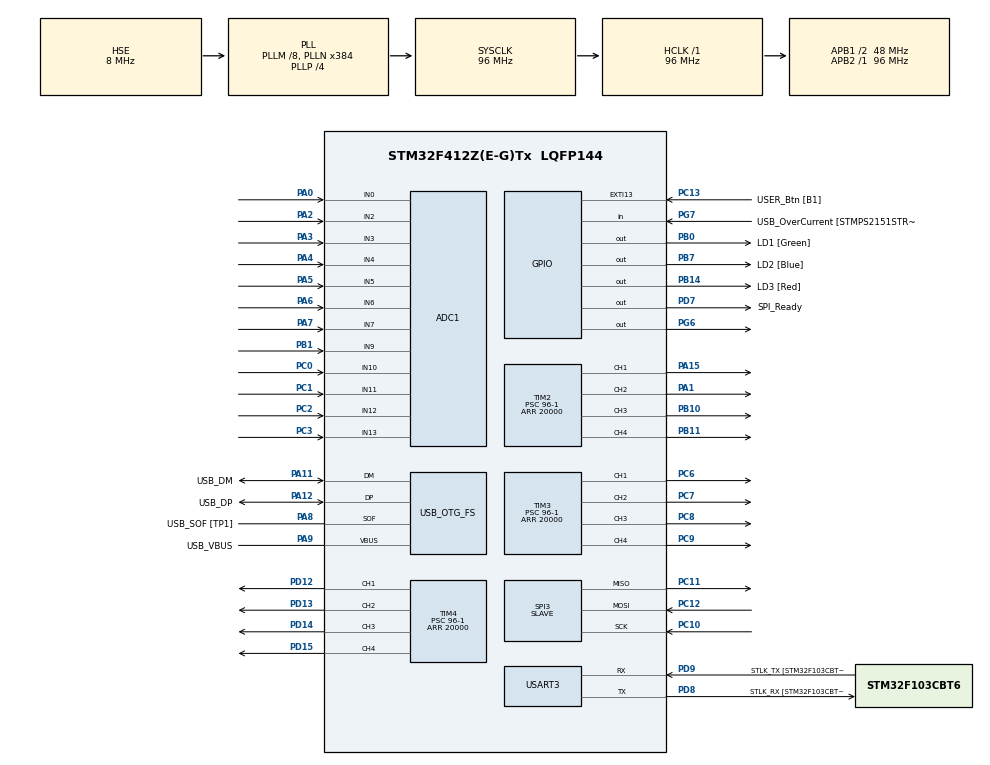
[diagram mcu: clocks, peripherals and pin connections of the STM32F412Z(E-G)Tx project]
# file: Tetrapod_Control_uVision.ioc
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ADC1.Channel-0\#ChannelRegularConversion=ADC_CHANNEL_0
ADC1.Channel-1\#ChannelRegularConversion=ADC_CHANNEL_2
ADC1.Channel-10\#ChannelRegularConversion=ADC_CHANNEL_12
ADC1.Channel-11\#ChannelRegularConversion=ADC_CHANNEL_13
ADC1.Channel-2\#ChannelRegularConversion=ADC_CHANNEL_3
ADC1.Channel-3\#ChannelRegularConversion=ADC_CHANNEL_4
ADC1.Channel-4\#ChannelRegularConversion=ADC_CHANNEL_5
ADC1.Channel-5\#ChannelRegularConversion=ADC_CHANNEL_6
ADC1.Channel-6\#ChannelRegularConversion=ADC_CHANNEL_7
ADC1.Channel-7\#ChannelRegularConversion=ADC_CHANNEL_9
ADC1.Channel-8\#ChannelRegularConversion=ADC_CHANNEL_10
ADC1.Channel-9\#ChannelRegularConversion=ADC_CHANNEL_11
ADC1.ContinuousConvMode=DISABLE
ADC1.EOCSelection=ADC_EOC_SEQ_CONV
ADC1.NbrOfConversion=12
ADC1.NbrOfConversionFlag=1
ADC1.Rank-0\#ChannelRegularConversion=1
ADC1.Rank-1\#ChannelRegularConversion=2
ADC1.Rank-10\#ChannelRegularConversion=11
ADC1.Rank-11\#ChannelRegularConversion=12
ADC1.Rank-2\#ChannelRegularConversion=3
ADC1.Rank-3\#ChannelRegularConversion=4
ADC1.Rank-4\#ChannelRegularConversion=5
ADC1.Rank-5\#ChannelRegularConversion=6
ADC1.Rank-6\#ChannelRegularConversion=7
ADC1.Rank-7\#ChannelRegularConversion=8
ADC1.Rank-8\#ChannelRegularConversion=9
ADC1.Rank-9\#ChannelRegularConversion=10
ADC1.SamplingTime-0\#ChannelRegularConversion=ADC_SAMPLETIME_3CYCLES
ADC1.SamplingTime-1\#ChannelRegularConversion=ADC_SAMPLETIME_3CYCLES
ADC1.SamplingTime-10\#ChannelRegularConversion=ADC_SAMPLETIME_3CYCLES
ADC1.SamplingTime-11\#ChannelRegularConversion=ADC_SAMPLETIME_3CYCLES
ADC1.SamplingTime-2\#ChannelRegularConversion=ADC_SAMPLETIME_3CYCLES
ADC1.SamplingTime-3\#ChannelRegularConversion=ADC_SAMPLETIME_3CYCLES
ADC1.SamplingTime-4\#ChannelRegularConversion=ADC_SAMPLETIME_3CYCLES
ADC1.SamplingTime-5\#ChannelRegularConversion=ADC_SAMPLETIME_3CYCLES
ADC1.SamplingTime-6\#ChannelRegularConversion=ADC_SAMPLETIME_3CYCLES
ADC1.SamplingTime-7\#ChannelRegularConversion=ADC_SAMPLETIME_3CYCLES
ADC1.SamplingTime-8\#ChannelRegularConversion=ADC_SAMPLETIME_3CYCLES
ADC1.SamplingTime-9\#ChannelRegularConversion=ADC_SAMPLETIME_3CYCLES
ADC1.ScanConvMode=ENABLE
ADC1.master=1
Dma.ADC1.0.Direction=DMA_PERIPH_TO_MEMORY
Dma.ADC1.0.FIFOMode=DMA_FIFOMODE_DISABLE
Dma.ADC1.0.Instance=DMA2_Stream4
Dma.ADC1.0.MemDataAlignment=DMA_MDATAALIGN_HALFWORD
Dma.ADC1.0.MemInc=DMA_MINC_ENABLE
Dma.ADC1.0.Mode=DMA_NORMAL
Dma.ADC1.0.PeriphDataAlignment=DMA_PDATAALIGN_HALFWORD
Dma.ADC1.0.PeriphInc=DMA_PINC_DISABLE
Dma.ADC1.0.Priority=DMA_PRIORITY_HIGH
Dma.Request0=ADC1
Mcu.Family=STM32F4
Mcu.Name=STM32F412Z(E-G)Tx
Mcu.Package=LQFP144
NVIC.DMA2_Stream4_IRQn=true\:0\:0\:false\:false\:true\:false\:true\:true
NVIC.EXTI15_10_IRQn=true\:0\:0\:false\:false\:true\:true\:true\:true
NVIC.PriorityGroup=NVIC_PRIORITYGROUP_4
NVIC.TIM2_IRQn=true\:0\:0\:false\:false\:true\:true\:true\:true
PA0.Signal=ADCx_IN0
PA1.Signal=S_TIM2_CH2
PA10.GPIO_Label=USB_ID
PA10.Signal=USB_OTG_FS_ID
PA11.GPIO_Label=USB_DM
PA11.Mode=Device_Only
PA11.Signal=USB_OTG_FS_DM
PA12.GPIO_Label=USB_DP
PA12.Mode=Device_Only
PA12.Signal=USB_OTG_FS_DP
PA13.GPIO_Label=TMS
PA13.Mode=Serial_Wire
PA13.Signal=SYS_JTMS-SWDIO
PA14.GPIO_Label=TCK
PA14.Mode=Serial_Wire
PA14.Signal=SYS_JTCK-SWCLK
PA15.Signal=S_TIM2_CH1_ETR
PA2.Signal=ADCx_IN2
PA3.Signal=ADCx_IN3
PA4.Signal=ADCx_IN4
PA5.Signal=ADCx_IN5
PA6.Signal=ADCx_IN6
PA7.Signal=ADCx_IN7
PA8.GPIO_Label=USB_SOF [TP1]
PA8.Mode=Activate_SOF_FS
PA8.Signal=USB_OTG_FS_SOF
PA9.GPIO_Label=USB_VBUS
PA9.Mode=Activate_VBUS
PA9.Signal=USB_OTG_FS_VBUS
PB0.GPIO_Label=LD1 [Green]
PB0.Signal=GPIO_Output
PB1.Signal=ADCx_IN9
PB10.Signal=S_TIM2_CH3
PB11.Signal=S_TIM2_CH4
PB14.GPIO_Label=LD3 [Red]
PB14.Signal=GPIO_Output
PB3.GPIO_Label=SWO
PB3.Signal=SYS_JTDO-SWO
PB7.GPIO_Label=LD2 [Blue]
PB7.Signal=GPIO_Output
PC0.Signal=ADCx_IN10
PC1.Signal=ADCx_IN11
PC10.Mode=Full_Duplex_Slave
PC10.Signal=SPI3_SCK
PC11.Mode=Full_Duplex_Slave
PC11.Signal=SPI3_MISO
PC12.Mode=Full_Duplex_Slave
PC12.Signal=SPI3_MOSI
PC13.GPIO_Label=USER_Btn [B1]
PC13.Signal=GPXTI13
PC14-OSC32_IN.Mode=LSE-External-Oscillator
PC14-OSC32_IN.Signal=RCC_OSC32_IN
PC15-OSC32_OUT.Mode=LSE-External-Oscillator
PC15-OSC32_OUT.Signal=RCC_OSC32_OUT
PC2.Signal=ADCx_IN12
PC3.Signal=ADCx_IN13
PC6.Signal=S_TIM3_CH1
PC7.Signal=S_TIM3_CH2
PC8.Signal=S_TIM3_CH3
PC9.Signal=S_TIM3_CH4
PD12.Signal=S_TIM4_CH1
PD13.Signal=S_TIM4_CH2
PD14.Signal=S_TIM4_CH3
PD15.Signal=S_TIM4_CH4
PD7.GPIO_Label=SPI_Ready
PD7.GPIO_Speed=GPIO_SPEED_FREQ_LOW
PD7.Signal=GPIO_Output
PD8.GPIO_Label=STLK_RX [STM32F103CBT6_PA3]
PD8.Mode=Asynchronous
PD8.Signal=USART3_TX
PD9.GPIO_Label=STLK_TX [STM32F103CBT6_PA2]
PD9.Mode=Asynchronous
PD9.Signal=USART3_RX
PG6.Signal=GPIO_Output
PG7.GPIO_Label=USB_OverCurrent [STMPS2151STR_FAULT]
PG7.Signal=GPIO_Input
PH0\ -\ OSC_IN.GPIO_Label=MCO
PH0\ -\ OSC_IN.Mode=HSE-External-Clock-Source
PH0\ -\ OSC_IN.Signal=RCC_OSC_IN
PH1\ -\ OSC_OUT.Mode=HSE-External-Clock-Source
PH1\ -\ OSC_OUT.Signal=RCC_OSC_OUT
ProjectManager.HeapSize=0x200
ProjectManager.StackSize=0x400
ProjectManager.TargetToolchain=MDK-ARM V5.32
RCC.48MHZClocksFreq_Value=24000000
RCC.AHBFreq_Value=96000000
RCC.APB1CLKDivider=RCC_HCLK_DIV2
RCC.APB1Freq_Value=48000000
RCC.APB1TimFreq_Value=96000000
RCC.APB2Freq_Value=96000000
RCC.APB2TimFreq_Value=96000000
RCC.CortexFreq_Value=96000000
RCC.HCLKFreq_Value=96000000
RCC.HSE_VALUE=8000000
RCC.HSI_VALUE=16000000
RCC.PLLM=8
RCC.PLLMUL=RCC_PLL_MUL9
RCC.PLLN=384
RCC.PLLP=RCC_PLLP_DIV4
RCC.PLLQ=8
RCC.PRESCALERUSB=RCC_USBCLKSOURCE_PLL_DIV1_5
RCC.SYSCLKFreq_VALUE=96000000
RCC.SYSCLKSource=RCC_SYSCLKSOURCE_PLLCLK
RCC.SYSCLKSourceVirtual=RCC_SYSCLKSOURCE_PLLCLK
RCC.USBFreq_Value=48000000
RCC.VCOOutputFreq_Value=384000000
SH.ADCx_IN0.0=ADC1_IN0,IN0
SH.ADCx_IN10.0=ADC1_IN10,IN10
SH.ADCx_IN11.0=ADC1_IN11,IN11
SH.ADCx_IN12.0=ADC1_IN12,IN12
SH.ADCx_IN13.0=ADC1_IN13,IN13
SH.ADCx_IN2.0=ADC1_IN2,IN2
SH.ADCx_IN3.0=ADC1_IN3,IN3
SH.ADCx_IN4.0=ADC1_IN4,IN4
SH.ADCx_IN5.0=ADC1_IN5,IN5
SH.ADCx_IN6.0=ADC1_IN6,IN6
SH.ADCx_IN7.0=ADC1_IN7,IN7
SH.ADCx_IN9.0=ADC1_IN9,IN9
SH.S_TIM2_CH1_ETR.0=TIM2_CH1,PWM Generation1 CH1
SH.S_TIM2_CH2.0=TIM2_CH2,PWM Generation2 CH2
SH.S_TIM2_CH3.0=TIM2_CH3,PWM Generation3 CH3
SH.S_TIM2_CH4.0=TIM2_CH4,PWM Generation4 CH4
SH.S_TIM3_CH1.0=TIM3_CH1,PWM Generation1 CH1
SH.S_TIM3_CH2.0=TIM3_CH2,PWM Generation2 CH2
SH.S_TIM3_CH3.0=TIM3_CH3,PWM Generation3 CH3
SH.S_TIM3_CH4.0=TIM3_CH4,PWM Generation4 CH4
SH.S_TIM4_CH1.0=TIM4_CH1,PWM Generation1 CH1
SH.S_TIM4_CH2.0=TIM4_CH2,PWM Generation2 CH2
SH.S_TIM4_CH3.0=TIM4_CH3,PWM Generation3 CH3
SH.S_TIM4_CH4.0=TIM4_CH4,PWM Generation4 CH4
SPI3.DataSize=SPI_DATASIZE_16BIT
SPI3.Direction=SPI_DIRECTION_2LINES
SPI3.Mode=SPI_MODE_SLAVE
SPI3.VirtualType=VM_SLAVE
TIM2.Channel-PWM\ Generation1\ CH1=TIM_CHANNEL_1
TIM2.Channel-PWM\ Generation2\ CH2=TIM_CHANNEL_2
TIM2.Channel-PWM\ Generation3\ CH3=TIM_CHANNEL_3
TIM2.Channel-PWM\ Generation4\ CH4=TIM_CHANNEL_4
TIM2.Period=20000
TIM2.Prescaler=96-1
TIM3.Channel-PWM\ Generation1\ CH1=TIM_CHANNEL_1
TIM3.Channel-PWM\ Generation2\ CH2=TIM_CHANNEL_2
TIM3.Channel-PWM\ Generation3\ CH3=TIM_CHANNEL_3
TIM3.Channel-PWM\ Generation4\ CH4=TIM_CHANNEL_4
TIM3.Period=20000
TIM3.Prescaler=96-1
TIM4.Channel-PWM\ Generation1\ CH1=TIM_CHANNEL_1
TIM4.Channel-PWM\ Generation2\ CH2=TIM_CHANNEL_2
TIM4.Channel-PWM\ Generation3\ CH3=TIM_CHANNEL_3
TIM4.Channel-PWM\ Generation4\ CH4=TIM_CHANNEL_4
TIM4.Period=20000
TIM4.Prescaler=96-1
TIM5.Prescaler=96-1
USART3.VirtualMode=VM_ASYNC
USB_OTG_FS.VirtualMode=Device_Only
VP_TIM2_VS_ClockSourceINT.Mode=Internal
VP_TIM3_VS_ClockSourceINT.Mode=Internal
VP_TIM4_VS_ClockSourceINT.Mode=Internal
VP_TIM5_VS_ClockSourceINT.Mode=Internal
board=NUCLEO-F412ZG

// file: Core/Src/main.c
/* USER CODE BEGIN Header */
/**
  ******************************************************************************
  * @file           : main.c
  * @brief          : Main program body
  ******************************************************************************
  * @attention
  *
  * Copyright (c) 2024 STMicroelectronics.
  * All rights reserved.
  *
  * This software is licensed under terms that can be found in the LICENSE file
  * in the root directory of this software component.
  * If no LICENSE file comes with this software, it is provided AS-IS.
  *
  ******************************************************************************
  */
/* USER CODE END Header */
#include "main.h"

/* USER CODE BEGIN Includes */
#include <math.h>
#include <string.h>

#include "calibration_ADC.h"
/* USER CODE END Includes */

/* USER CODE BEGIN PD */
#define M_PI 3.14159265358979323846

//Number of joints
#define JOINTS 1

//Number of ADC measurements for average
#define N_SAMPLES 10

//States for Main State Machine
#define TX_RASPBERRY 0
#define RX_RASPBERRY 1
#define ACTUATION		 2

//States for Step State Machine
#define STARTING_MEASURE	0
#define DELAY_STATE 			1
#define COMPARE_MEASURE		2
#define TIMEOUT_STATE     3

//Parameters to transform Degrees(�) values to PWM (Ton in microseconds)
#define K_TON (float)(100.0/9.0)
#define BIAS_TON	(float)500

//Parameters of the time-out algorithm
//(150 microseconds is the delay between 2 average measurements)

#define DEAD_BANDWIDTH_SERVO 3  //Degrees
#define MAX_DELTA_ANGLE	2	//Degrees		(960 micro radians is the quantum of the ADC in angle. 680 micro radians is the minimum change detectable measuring with 150us of delay and the speed of the servo)

#define SAMPLE_TIME 1	//miliseconds
#define TIMEOUT 1000 //miliseconds

#define UMBRAL_DONE 100

#define ALL_FINISHED pow(2,JOINTS)-1
/* USER CODE END PD */

/* USER CODE BEGIN PM */
#define __round(x) ((x)>=0?(uint16_t)((x)+0.5):(uint16_t)((x)-0.5))
/* USER CODE END PM */

ADC_HandleTypeDef hadc1;
DMA_HandleTypeDef hdma_adc1;

SPI_HandleTypeDef hspi3;

TIM_HandleTypeDef htim2;
TIM_HandleTypeDef htim3;
TIM_HandleTypeDef htim4;
TIM_HandleTypeDef htim5;

UART_HandleTypeDef huart3;

PCD_HandleTypeDef hpcd_USB_OTG_FS;

/* USER CODE BEGIN PV */
//Global Flags
uint8_t conv_cplt = 0;
uint8_t angulo_ready = 0;

uint8_t up_down_ADC[JOINTS] = {0};

//Global Buffers
//	SPI (SI NO USAMOS DMA NO HACE FALTA GLOBAL)
float target_joint[12] = {0};	//Buffer in SPI

//Arrays for changing pwm ton
TIM_HandleTypeDef* htim[3];
uint32_t channel[4] = {TIM_CHANNEL_1, TIM_CHANNEL_2, TIM_CHANNEL_3, TIM_CHANNEL_4};

//	ADC-DMA
uint16_t joint_angle_dma[12] = {0};	//ADC measurement with DMA

uint16_t joint_angle[12] = {0};	//Accumulator for average

uint8_t cant_med = 0;

//Ticks of timer
uint16_t sample_time = 0;
uint16_t timeout = 0;

//VARIABLES PARA DEBUG///////
#define ANGULO_INICIAL 0

uint16_t delay_button = 0;
//uint32_t counter = 0;
//uint32_t last_counter = 0;
//uint32_t delay_counter = 0;
float resultado;

int8_t sign = 1;
uint16_t ton = 0;

float angulo_salida = ANGULO_INICIAL;

uint8_t joint = 0;
/////////////////////////////

//VARIABLES QUE NO DEBEN SER GLOBALES

float delta_sample = 0;
float delta_target = 0;
float f_joint_angle[JOINTS] = {ANGULO_INICIAL};//, ANGULO_INICIAL, ANGULO_INICIAL, ANGULO_INICIAL, ANGULO_INICIAL, ANGULO_INICIAL, ANGULO_INICIAL, ANGULO_INICIAL, ANGULO_INICIAL, ANGULO_INICIAL, ANGULO_INICIAL, ANGULO_INICIAL};
float f_last_joint[JOINTS] = {0};

uint8_t state_actuation = STARTING_MEASURE;

uint8_t count_stable_signal[JOINTS] = {0};

uint16_t joints_finished = 0x000 ;	//Each bit is a flag for a joint

/* USER CODE END PV */

void SystemClock_Config(void);
static void MX_GPIO_Init(void);
static void MX_DMA_Init(void);
static void MX_TIM2_Init(void);
static void MX_USART3_UART_Init(void);
static void MX_USB_OTG_FS_PCD_Init(void);
static void MX_ADC1_Init(void);
static void MX_TIM3_Init(void);
static void MX_TIM4_Init(void);
static void MX_SPI3_Init(void);
static void MX_TIM5_Init(void);
/* USER CODE BEGIN PFP */
float adc2angle(uint16_t adc_value, uint8_t up_down_flag);
uint16_t angle2ton_us(float);

int8_t State_Machine_Actuation(void);
/* USER CODE END PFP */

int main(void)
{

  /* MCU Configuration--------------------------------------------------------*/

  /* Reset of all peripherals, Initializes the Flash interface and the Systick. */
  HAL_Init();

  /* Configure the system clock */
  SystemClock_Config();

  /* Initialize all configured peripherals */
  MX_GPIO_Init();
  MX_DMA_Init();
  MX_TIM2_Init();
  MX_USART3_UART_Init();
  MX_USB_OTG_FS_PCD_Init();
  MX_ADC1_Init();
  MX_TIM3_Init();
  MX_TIM4_Init();
  MX_SPI3_Init();
  MX_TIM5_Init();
  /* USER CODE BEGIN 2 */
	HAL_TIM_Base_Start(&htim2);
	HAL_TIM_Base_Start(&htim2);
  HAL_TIM_PWM_Start(&htim2,TIM_CHANNEL_1);
  HAL_TIM_PWM_Start(&htim2,TIM_CHANNEL_2);
  HAL_TIM_PWM_Start(&htim2,TIM_CHANNEL_3);
  HAL_TIM_PWM_Start(&htim2,TIM_CHANNEL_4);

  HAL_TIM_Base_Start(&htim3);
  HAL_TIM_PWM_Start(&htim3,TIM_CHANNEL_1);
  HAL_TIM_PWM_Start(&htim3,TIM_CHANNEL_2);
  HAL_TIM_PWM_Start(&htim3,TIM_CHANNEL_3);
  HAL_TIM_PWM_Start(&htim3,TIM_CHANNEL_4);

  HAL_TIM_Base_Start(&htim4);
  HAL_TIM_PWM_Start(&htim4,TIM_CHANNEL_1);
  HAL_TIM_PWM_Start(&htim4,TIM_CHANNEL_2);
  HAL_TIM_PWM_Start(&htim4,TIM_CHANNEL_3);
  HAL_TIM_PWM_Start(&htim4,TIM_CHANNEL_4);

	HAL_TIM_Base_Start_IT(&htim5);

  htim[0] = &htim2;
  htim[1] = &htim3;
  htim[2] = &htim4;
  /* USER CODE END 2 */

  /* Infinite loop */
  /* USER CODE BEGIN WHILE */

	//Main state
	uint8_t state = TX_RASPBERRY;

	int8_t result = 0;

	ton = angle2ton_us(ANGULO_INICIAL);

	__HAL_TIM_SET_COMPARE(&htim2, TIM_CHANNEL_1, ton);

  while (1)
  {
		/* CALIBRACION ADC
		if(cant_med == N_SAMPLES)
		{
			cant_med = 0;
			angulo_ready = 0;
			resultado = joint_angle[0]/10.0;
			joint_angle[0]=0;
		}
		else if(angulo_ready)
		{
			if(time == 0)
				HAL_ADC_Start_DMA(&hadc1,(uint32_t*)joint_angle_dma,12);
		}
		*/

		switch(state)
		{
			case TX_RASPBERRY:
				//Request master to transmit target step rotation and joint angles
				HAL_GPIO_WritePin(SPI_Ready_GPIO_Port, SPI_Ready_Pin, GPIO_PIN_RESET);
				HAL_Delay(100);
				HAL_GPIO_WritePin(SPI_Ready_GPIO_Port, SPI_Ready_Pin, GPIO_PIN_SET);	//POSIBLE PROBLEMA ACA (tiempo que tarda el master en iniciar desde que lee el 1 en el GPIO)
				//HAL_SPI_Transmit(&hspi3, (uint8_t*)f_joint_angle, sizeof(f_joint_angle), HAL_MAX_DELAY);

				state = RX_RASPBERRY;
				break;
			case RX_RASPBERRY:
				//Request master to receive the next action
				HAL_GPIO_WritePin(SPI_Ready_GPIO_Port, SPI_Ready_Pin, GPIO_PIN_RESET);
				HAL_Delay(100);
				HAL_GPIO_WritePin(SPI_Ready_GPIO_Port, SPI_Ready_Pin, GPIO_PIN_SET);	//IDEM PROBLEMA ANTERIOR
				//HAL_SPI_Receive(&hspi3, (uint8_t*) target_joint_angle, sizeof(target_joint_angle), HAL_MAX_DELAY);

				if(angulo_ready)
				{
					angulo_ready = 0;

          //Check if the new target is too close to the actual position, in which case the servo wouldn't move because of the dead bandwidth
          //Therefore consider the joint already finished
          for(joint=0;joint<JOINTS;joint++)
					{
            delta_target = fabs(f_joint_angle[joint] - target_joint[joint]);
            if(delta_target < DEAD_BANDWIDTH_SERVO)
              joints_finished |= 1<<joint;	//Set respective bit in 1
            else
              __HAL_TIM_SET_COMPARE(htim[joint / 4], channel[joint % 4], angle2ton_us(target_joint[joint]));  //Move the servomotor
          }

					//First measure of joints
          conv_cplt = 0;
					memset(joint_angle, 0, sizeof(joint_angle));
					HAL_ADC_Start_DMA(&hadc1,(uint32_t*)joint_angle_dma,12);

					//Evaluate if servo has to go up or down to get a better measurement
					for(joint=0;joint<JOINTS;joint++)
						up_down_ADC[joint] = (f_joint_angle[joint] < target_joint[joint]);

					state = ACTUATION;
				}
				break;
			case ACTUATION:
				result = State_Machine_Actuation();

				if(result == 1)
					state = TX_RASPBERRY;
				else if(result == -1)
					state = TX_RASPBERRY;	//ESTADO STOP DE EMERGENCIA EN EL FUTURO
				break;
		}

    /* USER CODE END WHILE */

  }
}

void SystemClock_Config(void)
{
  RCC_OscInitTypeDef RCC_OscInitStruct = {0};
  RCC_ClkInitTypeDef RCC_ClkInitStruct = {0};

  /** Configure the main internal regulator output voltage
  */
  __HAL_RCC_PWR_CLK_ENABLE();
  __HAL_PWR_VOLTAGESCALING_CONFIG(PWR_REGULATOR_VOLTAGE_SCALE1);

  /** Initializes the RCC Oscillators according to the specified parameters
  * in the RCC_OscInitTypeDef structure.
  */
  RCC_OscInitStruct.OscillatorType = RCC_OSCILLATORTYPE_HSE;
  RCC_OscInitStruct.HSEState = RCC_HSE_BYPASS;
  RCC_OscInitStruct.PLL.PLLState = RCC_PLL_ON;
  RCC_OscInitStruct.PLL.PLLSource = RCC_PLLSOURCE_HSE;
  RCC_OscInitStruct.PLL.PLLM = 8;
  RCC_OscInitStruct.PLL.PLLN = 384;
  RCC_OscInitStruct.PLL.PLLP = RCC_PLLP_DIV4;
  RCC_OscInitStruct.PLL.PLLQ = 8;
  RCC_OscInitStruct.PLL.PLLR = 2;
  if (HAL_RCC_OscConfig(&RCC_OscInitStruct) != HAL_OK)
  {
    Error_Handler();
  }

  /** Initializes the CPU, AHB and APB buses clocks
  */
  RCC_ClkInitStruct.ClockType = RCC_CLOCKTYPE_HCLK|RCC_CLOCKTYPE_SYSCLK
                              |RCC_CLOCKTYPE_PCLK1|RCC_CLOCKTYPE_PCLK2;
  RCC_ClkInitStruct.SYSCLKSource = RCC_SYSCLKSOURCE_PLLCLK;
  RCC_ClkInitStruct.AHBCLKDivider = RCC_SYSCLK_DIV1;
  RCC_ClkInitStruct.APB1CLKDivider = RCC_HCLK_DIV2;
  RCC_ClkInitStruct.APB2CLKDivider = RCC_HCLK_DIV1;

  if (HAL_RCC_ClockConfig(&RCC_ClkInitStruct, FLASH_LATENCY_3) != HAL_OK)
  {
    Error_Handler();
  }
}

static void MX_ADC1_Init(void)
{

  ADC_ChannelConfTypeDef sConfig = {0};

  /** Configure the global features of the ADC (Clock, Resolution, Data Alignment and number of conversion)
  */
  hadc1.Instance = ADC1;
  hadc1.Init.ClockPrescaler = ADC_CLOCK_SYNC_PCLK_DIV4;
  hadc1.Init.Resolution = ADC_RESOLUTION_12B;
  hadc1.Init.ScanConvMode = ENABLE;
  hadc1.Init.ContinuousConvMode = DISABLE;
  hadc1.Init.DiscontinuousConvMode = DISABLE;
  hadc1.Init.ExternalTrigConvEdge = ADC_EXTERNALTRIGCONVEDGE_NONE;
  hadc1.Init.ExternalTrigConv = ADC_SOFTWARE_START;
  hadc1.Init.DataAlign = ADC_DATAALIGN_RIGHT;
  hadc1.Init.NbrOfConversion = 12;
  hadc1.Init.DMAContinuousRequests = DISABLE;
  hadc1.Init.EOCSelection = ADC_EOC_SEQ_CONV;
  if (HAL_ADC_Init(&hadc1) != HAL_OK)
  {
    Error_Handler();
  }

  /** Configure for the selected ADC regular channel its corresponding rank in the sequencer and its sample time.
  */
  sConfig.Channel = ADC_CHANNEL_0;
  sConfig.Rank = 1;
  sConfig.SamplingTime = ADC_SAMPLETIME_3CYCLES;
  if (HAL_ADC_ConfigChannel(&hadc1, &sConfig) != HAL_OK)
  {
    Error_Handler();
  }

  /** Configure for the selected ADC regular channel its corresponding rank in the sequencer and its sample time.
  */
  sConfig.Channel = ADC_CHANNEL_2;
  sConfig.Rank = 2;
  if (HAL_ADC_ConfigChannel(&hadc1, &sConfig) != HAL_OK)
  {
    Error_Handler();
  }

  /** Configure for the selected ADC regular channel its corresponding rank in the sequencer and its sample time.
  */
  sConfig.Channel = ADC_CHANNEL_3;
  sConfig.Rank = 3;
  if (HAL_ADC_ConfigChannel(&hadc1, &sConfig) != HAL_OK)
  {
    Error_Handler();
  }

  /** Configure for the selected ADC regular channel its corresponding rank in the sequencer and its sample time.
  */
  sConfig.Channel = ADC_CHANNEL_4;
  sConfig.Rank = 4;
  if (HAL_ADC_ConfigChannel(&hadc1, &sConfig) != HAL_OK)
  {
    Error_Handler();
  }

  /** Configure for the selected ADC regular channel its corresponding rank in the sequencer and its sample time.
  */
  sConfig.Channel = ADC_CHANNEL_5;
  sConfig.Rank = 5;
  if (HAL_ADC_ConfigChannel(&hadc1, &sConfig) != HAL_OK)
  {
    Error_Handler();
  }

  /** Configure for the selected ADC regular channel its corresponding rank in the sequencer and its sample time.
  */
  sConfig.Channel = ADC_CHANNEL_6;
  sConfig.Rank = 6;
  if (HAL_ADC_ConfigChannel(&hadc1, &sConfig) != HAL_OK)
  {
    Error_Handler();
  }

  /** Configure for the selected ADC regular channel its corresponding rank in the sequencer and its sample time.
  */
  sConfig.Channel = ADC_CHANNEL_7;
  sConfig.Rank = 7;
  if (HAL_ADC_ConfigChannel(&hadc1, &sConfig) != HAL_OK)
  {
    Error_Handler();
  }

  /** Configure for the selected ADC regular channel its corresponding rank in the sequencer and its sample time.
  */
  sConfig.Channel = ADC_CHANNEL_9;
  sConfig.Rank = 8;
  if (HAL_ADC_ConfigChannel(&hadc1, &sConfig) != HAL_OK)
  {
    Error_Handler();
  }

  /** Configure for the selected ADC regular channel its corresponding rank in the sequencer and its sample time.
  */
  sConfig.Channel = ADC_CHANNEL_10;
  sConfig.Rank = 9;
  if (HAL_ADC_ConfigChannel(&hadc1, &sConfig) != HAL_OK)
  {
    Error_Handler();
  }

  /** Configure for the selected ADC regular channel its corresponding rank in the sequencer and its sample time.
  */
  sConfig.Channel = ADC_CHANNEL_11;
  sConfig.Rank = 10;
  if (HAL_ADC_ConfigChannel(&hadc1, &sConfig) != HAL_OK)
  {
    Error_Handler();
  }

  /** Configure for the selected ADC regular channel its corresponding rank in the sequencer and its sample time.
  */
  sConfig.Channel = ADC_CHANNEL_12;
  sConfig.Rank = 11;
  if (HAL_ADC_ConfigChannel(&hadc1, &sConfig) != HAL_OK)
  {
    Error_Handler();
  }

  /** Configure for the selected ADC regular channel its corresponding rank in the sequencer and its sample time.
  */
  sConfig.Channel = ADC_CHANNEL_13;
  sConfig.Rank = 12;
  if (HAL_ADC_ConfigChannel(&hadc1, &sConfig) != HAL_OK)
  {
    Error_Handler();
  }

}

static void MX_SPI3_Init(void)
{

  /* SPI3 parameter configuration*/
  hspi3.Instance = SPI3;
  hspi3.Init.Mode = SPI_MODE_SLAVE;
  hspi3.Init.Direction = SPI_DIRECTION_2LINES;
  hspi3.Init.DataSize = SPI_DATASIZE_16BIT;
  hspi3.Init.CLKPolarity = SPI_POLARITY_LOW;
  hspi3.Init.CLKPhase = SPI_PHASE_1EDGE;
  hspi3.Init.NSS = SPI_NSS_SOFT;
  hspi3.Init.FirstBit = SPI_FIRSTBIT_MSB;
  hspi3.Init.TIMode = SPI_TIMODE_DISABLE;
  hspi3.Init.CRCCalculation = SPI_CRCCALCULATION_DISABLE;
  hspi3.Init.CRCPolynomial = 10;
  if (HAL_SPI_Init(&hspi3) != HAL_OK)
  {
    Error_Handler();
  }

}

static void MX_TIM2_Init(void)
{

  TIM_ClockConfigTypeDef sClockSourceConfig = {0};
  TIM_MasterConfigTypeDef sMasterConfig = {0};
  TIM_OC_InitTypeDef sConfigOC = {0};

  htim2.Instance = TIM2;
  htim2.Init.Prescaler = 96-1;
  htim2.Init.CounterMode = TIM_COUNTERMODE_UP;
  htim2.Init.Period = 20000;
  htim2.Init.ClockDivision = TIM_CLOCKDIVISION_DIV1;
  htim2.Init.AutoReloadPreload = TIM_AUTORELOAD_PRELOAD_DISABLE;
  if (HAL_TIM_Base_Init(&htim2) != HAL_OK)
  {
    Error_Handler();
  }
  sClockSourceConfig.ClockSource = TIM_CLOCKSOURCE_INTERNAL;
  if (HAL_TIM_ConfigClockSource(&htim2, &sClockSourceConfig) != HAL_OK)
  {
    Error_Handler();
  }
  if (HAL_TIM_PWM_Init(&htim2) != HAL_OK)
  {
    Error_Handler();
  }
  sMasterConfig.MasterOutputTrigger = TIM_TRGO_RESET;
  sMasterConfig.MasterSlaveMode = TIM_MASTERSLAVEMODE_DISABLE;
  if (HAL_TIMEx_MasterConfigSynchronization(&htim2, &sMasterConfig) != HAL_OK)
  {
    Error_Handler();
  }
  sConfigOC.OCMode = TIM_OCMODE_PWM1;
  sConfigOC.Pulse = 500;
  sConfigOC.OCPolarity = TIM_OCPOLARITY_HIGH;
  sConfigOC.OCFastMode = TIM_OCFAST_DISABLE;
  if (HAL_TIM_PWM_ConfigChannel(&htim2, &sConfigOC, TIM_CHANNEL_1) != HAL_OK)
  {
    Error_Handler();
  }
  sConfigOC.Pulse = 0;
  if (HAL_TIM_PWM_ConfigChannel(&htim2, &sConfigOC, TIM_CHANNEL_2) != HAL_OK)
  {
    Error_Handler();
  }
  if (HAL_TIM_PWM_ConfigChannel(&htim2, &sConfigOC, TIM_CHANNEL_3) != HAL_OK)
  {
    Error_Handler();
  }
  if (HAL_TIM_PWM_ConfigChannel(&htim2, &sConfigOC, TIM_CHANNEL_4) != HAL_OK)
  {
    Error_Handler();
  }
  HAL_TIM_MspPostInit(&htim2);

}

static void MX_TIM3_Init(void)
{

  TIM_ClockConfigTypeDef sClockSourceConfig = {0};
  TIM_MasterConfigTypeDef sMasterConfig = {0};
  TIM_OC_InitTypeDef sConfigOC = {0};

  htim3.Instance = TIM3;
  htim3.Init.Prescaler = 96-1;
  htim3.Init.CounterMode = TIM_COUNTERMODE_UP;
  htim3.Init.Period = 20000;
  htim3.Init.ClockDivision = TIM_CLOCKDIVISION_DIV1;
  htim3.Init.AutoReloadPreload = TIM_AUTORELOAD_PRELOAD_DISABLE;
  if (HAL_TIM_Base_Init(&htim3) != HAL_OK)
  {
    Error_Handler();
  }
  sClockSourceConfig.ClockSource = TIM_CLOCKSOURCE_INTERNAL;
  if (HAL_TIM_ConfigClockSource(&htim3, &sClockSourceConfig) != HAL_OK)
  {
    Error_Handler();
  }
  if (HAL_TIM_PWM_Init(&htim3) != HAL_OK)
  {
    Error_Handler();
  }
  sMasterConfig.MasterOutputTrigger = TIM_TRGO_RESET;
  sMasterConfig.MasterSlaveMode = TIM_MASTERSLAVEMODE_DISABLE;
  if (HAL_TIMEx_MasterConfigSynchronization(&htim3, &sMasterConfig) != HAL_OK)
  {
    Error_Handler();
  }
  sConfigOC.OCMode = TIM_OCMODE_PWM1;
  sConfigOC.Pulse = 0;
  sConfigOC.OCPolarity = TIM_OCPOLARITY_HIGH;
  sConfigOC.OCFastMode = TIM_OCFAST_DISABLE;
  if (HAL_TIM_PWM_ConfigChannel(&htim3, &sConfigOC, TIM_CHANNEL_1) != HAL_OK)
  {
    Error_Handler();
  }
  if (HAL_TIM_PWM_ConfigChannel(&htim3, &sConfigOC, TIM_CHANNEL_2) != HAL_OK)
  {
    Error_Handler();
  }
  if (HAL_TIM_PWM_ConfigChannel(&htim3, &sConfigOC, TIM_CHANNEL_3) != HAL_OK)
  {
    Error_Handler();
  }
  if (HAL_TIM_PWM_ConfigChannel(&htim3, &sConfigOC, TIM_CHANNEL_4) != HAL_OK)
  {
    Error_Handler();
  }
  HAL_TIM_MspPostInit(&htim3);

}

static void MX_TIM4_Init(void)
{

  TIM_ClockConfigTypeDef sClockSourceConfig = {0};
  TIM_MasterConfigTypeDef sMasterConfig = {0};
  TIM_OC_InitTypeDef sConfigOC = {0};

  htim4.Instance = TIM4;
  htim4.Init.Prescaler = 96-1;
  htim4.Init.CounterMode = TIM_COUNTERMODE_UP;
  htim4.Init.Period = 20000;
  htim4.Init.ClockDivision = TIM_CLOCKDIVISION_DIV1;
  htim4.Init.AutoReloadPreload = TIM_AUTORELOAD_PRELOAD_DISABLE;
  if (HAL_TIM_Base_Init(&htim4) != HAL_OK)
  {
    Error_Handler();
  }
  sClockSourceConfig.ClockSource = TIM_CLOCKSOURCE_INTERNAL;
  if (HAL_TIM_ConfigClockSource(&htim4, &sClockSourceConfig) != HAL_OK)
  {
    Error_Handler();
  }
  if (HAL_TIM_PWM_Init(&htim4) != HAL_OK)
  {
    Error_Handler();
  }
  sMasterConfig.MasterOutputTrigger = TIM_TRGO_RESET;
  sMasterConfig.MasterSlaveMode = TIM_MASTERSLAVEMODE_DISABLE;
  if (HAL_TIMEx_MasterConfigSynchronization(&htim4, &sMasterConfig) != HAL_OK)
  {
    Error_Handler();
  }
  sConfigOC.OCMode = TIM_OCMODE_PWM1;
  sConfigOC.Pulse = 0;
  sConfigOC.OCPolarity = TIM_OCPOLARITY_HIGH;
  sConfigOC.OCFastMode = TIM_OCFAST_DISABLE;
  if (HAL_TIM_PWM_ConfigChannel(&htim4, &sConfigOC, TIM_CHANNEL_1) != HAL_OK)
  {
    Error_Handler();
  }
  if (HAL_TIM_PWM_ConfigChannel(&htim4, &sConfigOC, TIM_CHANNEL_2) != HAL_OK)
  {
    Error_Handler();
  }
  if (HAL_TIM_PWM_ConfigChannel(&htim4, &sConfigOC, TIM_CHANNEL_3) != HAL_OK)
  {
    Error_Handler();
  }
  if (HAL_TIM_PWM_ConfigChannel(&htim4, &sConfigOC, TIM_CHANNEL_4) != HAL_OK)
  {
    Error_Handler();
  }
  HAL_TIM_MspPostInit(&htim4);

}

static void MX_TIM5_Init(void)
{

  TIM_ClockConfigTypeDef sClockSourceConfig = {0};
  TIM_MasterConfigTypeDef sMasterConfig = {0};

  htim5.Instance = TIM5;
  htim5.Init.Prescaler = 96-1;
  htim5.Init.CounterMode = TIM_COUNTERMODE_UP;
  htim5.Init.Period = 1000;
  htim5.Init.ClockDivision = TIM_CLOCKDIVISION_DIV1;
  htim5.Init.AutoReloadPreload = TIM_AUTORELOAD_PRELOAD_DISABLE;
  if (HAL_TIM_Base_Init(&htim5) != HAL_OK)
  {
    Error_Handler();
  }
  sClockSourceConfig.ClockSource = TIM_CLOCKSOURCE_INTERNAL;
  if (HAL_TIM_ConfigClockSource(&htim5, &sClockSourceConfig) != HAL_OK)
  {
    Error_Handler();
  }
  sMasterConfig.MasterOutputTrigger = TIM_TRGO_RESET;
  sMasterConfig.MasterSlaveMode = TIM_MASTERSLAVEMODE_DISABLE;
  if (HAL_TIMEx_MasterConfigSynchronization(&htim5, &sMasterConfig) != HAL_OK)
  {
    Error_Handler();
  }

}

static void MX_USART3_UART_Init(void)
{

  huart3.Instance = USART3;
  huart3.Init.BaudRate = 115200;
  huart3.Init.WordLength = UART_WORDLENGTH_8B;
  huart3.Init.StopBits = UART_STOPBITS_1;
  huart3.Init.Parity = UART_PARITY_NONE;
  huart3.Init.Mode = UART_MODE_TX_RX;
  huart3.Init.HwFlowCtl = UART_HWCONTROL_NONE;
  huart3.Init.OverSampling = UART_OVERSAMPLING_16;
  if (HAL_UART_Init(&huart3) != HAL_OK)
  {
    Error_Handler();
  }

}

static void MX_USB_OTG_FS_PCD_Init(void)
{

  hpcd_USB_OTG_FS.Instance = USB_OTG_FS;
  hpcd_USB_OTG_FS.Init.dev_endpoints = 6;
  hpcd_USB_OTG_FS.Init.speed = PCD_SPEED_FULL;
  hpcd_USB_OTG_FS.Init.dma_enable = DISABLE;
  hpcd_USB_OTG_FS.Init.phy_itface = PCD_PHY_EMBEDDED;
  hpcd_USB_OTG_FS.Init.Sof_enable = ENABLE;
  hpcd_USB_OTG_FS.Init.low_power_enable = DISABLE;
  hpcd_USB_OTG_FS.Init.lpm_enable = DISABLE;
  hpcd_USB_OTG_FS.Init.battery_charging_enable = ENABLE;
  hpcd_USB_OTG_FS.Init.vbus_sensing_enable = ENABLE;
  hpcd_USB_OTG_FS.Init.use_dedicated_ep1 = DISABLE;
  if (HAL_PCD_Init(&hpcd_USB_OTG_FS) != HAL_OK)
  {
    Error_Handler();
  }

}

static void MX_DMA_Init(void)
{

  /* DMA controller clock enable */
  __HAL_RCC_DMA2_CLK_ENABLE();

  /* DMA interrupt init */
  /* DMA2_Stream4_IRQn interrupt configuration */
  HAL_NVIC_SetPriority(DMA2_Stream4_IRQn, 0, 0);
  HAL_NVIC_EnableIRQ(DMA2_Stream4_IRQn);

}

static void MX_GPIO_Init(void)
{
  GPIO_InitTypeDef GPIO_InitStruct = {0};

  /* GPIO Ports Clock Enable */
  __HAL_RCC_GPIOC_CLK_ENABLE();
  __HAL_RCC_GPIOH_CLK_ENABLE();
  __HAL_RCC_GPIOA_CLK_ENABLE();
  __HAL_RCC_GPIOB_CLK_ENABLE();
  __HAL_RCC_GPIOD_CLK_ENABLE();
  __HAL_RCC_GPIOG_CLK_ENABLE();

  /*Configure GPIO pin Output Level */
  HAL_GPIO_WritePin(GPIOB, LD1_Pin|LD3_Pin|LD2_Pin, GPIO_PIN_RESET);

  /*Configure GPIO pin Output Level */
  HAL_GPIO_WritePin(GPIOG, GPIO_PIN_6, GPIO_PIN_RESET);

  /*Configure GPIO pin Output Level */
  HAL_GPIO_WritePin(SPI_Ready_GPIO_Port, SPI_Ready_Pin, GPIO_PIN_RESET);

  /*Configure GPIO pin : USER_Btn_Pin */
  GPIO_InitStruct.Pin = USER_Btn_Pin;
  GPIO_InitStruct.Mode = GPIO_MODE_IT_RISING;
  GPIO_InitStruct.Pull = GPIO_NOPULL;
  HAL_GPIO_Init(USER_Btn_GPIO_Port, &GPIO_InitStruct);

  /*Configure GPIO pins : LD1_Pin LD3_Pin LD2_Pin */
  GPIO_InitStruct.Pin = LD1_Pin|LD3_Pin|LD2_Pin;
  GPIO_InitStruct.Mode = GPIO_MODE_OUTPUT_PP;
  GPIO_InitStruct.Pull = GPIO_NOPULL;
  GPIO_InitStruct.Speed = GPIO_SPEED_FREQ_LOW;
  HAL_GPIO_Init(GPIOB, &GPIO_InitStruct);

  /*Configure GPIO pin : PG6 */
  GPIO_InitStruct.Pin = GPIO_PIN_6;
  GPIO_InitStruct.Mode = GPIO_MODE_OUTPUT_PP;
  GPIO_InitStruct.Pull = GPIO_NOPULL;
  GPIO_InitStruct.Speed = GPIO_SPEED_FREQ_LOW;
  HAL_GPIO_Init(GPIOG, &GPIO_InitStruct);

  /*Configure GPIO pin : USB_OverCurrent_Pin */
  GPIO_InitStruct.Pin = USB_OverCurrent_Pin;
  GPIO_InitStruct.Mode = GPIO_MODE_INPUT;
  GPIO_InitStruct.Pull = GPIO_NOPULL;
  HAL_GPIO_Init(USB_OverCurrent_GPIO_Port, &GPIO_InitStruct);

  /*Configure GPIO pin : SPI_Ready_Pin */
  GPIO_InitStruct.Pin = SPI_Ready_Pin;
  GPIO_InitStruct.Mode = GPIO_MODE_OUTPUT_PP;
  GPIO_InitStruct.Pull = GPIO_NOPULL;
  GPIO_InitStruct.Speed = GPIO_SPEED_FREQ_LOW;
  HAL_GPIO_Init(SPI_Ready_GPIO_Port, &GPIO_InitStruct);

  /* EXTI interrupt init*/
  HAL_NVIC_SetPriority(EXTI15_10_IRQn, 0, 0);
  HAL_NVIC_EnableIRQ(EXTI15_10_IRQn);

}

/* USER CODE BEGIN 4 */

/* CALIBRACION ADC
void HAL_ADC_ConvCpltCallback(ADC_HandleTypeDef* hadc)
{

	if(hadc == &hadc1)
	{
		for(uint8_t joint=0; joint<JOINTS; joint++) joint_angle[joint] += joint_angle_dma[joint];
		cant_med++;

		time = 1000;
	}
}

void HAL_GPIO_EXTI_Callback(uint16_t GPIO_Pin)
{
    if(GPIO_Pin == USER_Btn_Pin)
    {
			if(delay_button == 0)
			{
				if(ton >= 2500) sign = -1;
				else if(ton <= 0) sign = 1;
				ton += sign*100;

				__HAL_TIM_SET_COMPARE(&htim2, TIM_CHANNEL_1, ton);

				time = 1000;
				delay_button = 500;
				angulo_ready = 1;
			}
    }
}
*/

void HAL_ADC_ConvCpltCallback(ADC_HandleTypeDef* hadc)
{

	if(hadc == &hadc1)
	{
		cant_med++;

		for(uint8_t joint=0; joint<JOINTS; joint++) joint_angle[joint] += joint_angle_dma[joint];

		if(cant_med == N_SAMPLES)
		{
			/*
			Para medir tiempo entre muestras promediadas en microsegundos
			counter = __HAL_TIM_GetCounter(&htim5);
			delay_counter = counter - last_counter;
			last_counter = counter;
			*/

			//reset counter and accumulator
			cant_med = 0;

			conv_cplt = 1;
		}
		else
		{
			HAL_ADC_Start_DMA(&hadc1,(uint32_t*)joint_angle_dma,12);
		}
	}
}

void HAL_TIM_PeriodElapsedCallback(TIM_HandleTypeDef *htim)
{
	if(htim == &htim5)
	{
		if(sample_time > 0) sample_time--;
		if(timeout > 0) timeout--;

		//for debugging
		if(delay_button > 0) delay_button--;
	}
}

void HAL_GPIO_EXTI_Callback(uint16_t GPIO_Pin)
{
    if(GPIO_Pin == USER_Btn_Pin)
    {
			if(delay_button == 0)
			{
				if(angulo_salida >= 180)
				{
					sign = -1;
					angulo_salida = 180;
				}
				else if(angulo_salida <= 0)
				{
					sign = 1;
					angulo_salida = 0;
				}
				angulo_salida += sign*24;

				if(angulo_salida >= 180)
					angulo_salida = 180;
				else if(angulo_salida <= 0)
					angulo_salida = 0;

				target_joint[0] = angulo_salida;

				angulo_ready = 1;

				delay_button = 500;
			}
    }
}

//Convert ADC_value of ACCUMULATED measurement to angle in degrees using linear interpolation
float adc2angle(uint16_t adc_value, uint8_t up_down)
{
	uint16_t index = 0;

	while(adc_value > ADC_VALUES[up_down][index])	//Busco el c�digo en la tabla obtenida en la calibracion
	{
		index++;
		if(index > 20)
			return 180;	//adc_value greater than maximum value of table
	}

	if(adc_value == ADC_VALUES[up_down][index])	//Si el c�digo est� en la tabla, devuelvo la tensi�n correspondiente
		return ANGLES[index];

	else if(index == 0) return 0;	//adc_value lesser than minimum value of table

	else	//Si es menor al codigo de la tabla, realizo una interpolacion lineal
		return (ANGLES[index-1] * (ADC_VALUES[up_down][index]-adc_value) + ANGLES[index] * (adc_value-ADC_VALUES[up_down][index-1])) / (ADC_VALUES[up_down][index] - ADC_VALUES[up_down][index-1]);
}

uint16_t angle2ton_us(float angle_value)
{
	uint16_t ton_us = __round(angle_value * K_TON + BIAS_TON);
	return ton_us;
}

int8_t State_Machine_Actuation(void)
{
	switch(state_actuation)
	{
		case STARTING_MEASURE:
			if(conv_cplt)
			{
				conv_cplt = 0;
				memset(count_stable_signal, 0, sizeof(count_stable_signal));

				for(joint = 0; joint < JOINTS; joint++)
					f_last_joint[0] = adc2angle(joint_angle[0], up_down_ADC[joint]);

				sample_time = SAMPLE_TIME;
				state_actuation = DELAY_STATE;
				timeout = TIMEOUT;
			}
			break;
		case DELAY_STATE:
			if(timeout == 0)
			  state_actuation = TIMEOUT_STATE;
      else if(sample_time == 0)
			{
				memset(joint_angle, 0, sizeof(joint_angle));
				HAL_ADC_Start_DMA(&hadc1,(uint32_t*)joint_angle_dma,12);
				state_actuation = COMPARE_MEASURE;
			}
			break;
		case COMPARE_MEASURE:
			if(timeout == 0)
        state_actuation = TIMEOUT_STATE;

      else if(conv_cplt)
			{
				conv_cplt = 0;

				for(joint = 0; joint < JOINTS; joint++)
				{
					if((joints_finished & (1<<joint)) == 0)	//Ignore joints that finished
					{
						f_joint_angle[joint] = adc2angle(joint_angle[joint], up_down_ADC[joint]);

						delta_sample = fabs(f_joint_angle[joint] - f_last_joint[joint]);

						if(delta_sample < MAX_DELTA_ANGLE)
						{
							count_stable_signal[joint]++;
							if(count_stable_signal[joint] == UMBRAL_DONE && timeout>0)  //If the joint signal is stable
							{
								count_stable_signal[joint] = 0;

                delta_target = fabs(f_joint_angle[joint] - target_joint[joint]);
								if(delta_target < MAX_DELTA_ANGLE)  //If the stable joint reached target
								{
									joints_finished |= 1<<joint;	//Set respective bit in 1

									if(joints_finished == ALL_FINISHED)
									{
										joints_finished = 0;
                    state_actuation = STARTING_MEASURE;
										HAL_GPIO_WritePin(LD3_GPIO_Port, LD3_Pin, 0);
                    HAL_GPIO_WritePin(LD1_GPIO_Port, LD1_Pin, 1);
										return 1;
									}
								}
							}
						}
						else
							count_stable_signal[joint] = 0;
					}
				}

				memcpy(f_last_joint, f_joint_angle, sizeof(f_joint_angle));	//Remember joint

				sample_time = SAMPLE_TIME;
				state_actuation = DELAY_STATE;
			}

			break;
    case TIMEOUT_STATE:
      state_actuation = STARTING_MEASURE;

      HAL_GPIO_WritePin(LD1_GPIO_Port, LD1_Pin, 0);
      HAL_GPIO_WritePin(LD3_GPIO_Port, LD3_Pin, 1);

      //Turn off joints that got stuck
      for(joint=0; joint<JOINTS; joint++)
      {
        if((joints_finished & (1<<joint)) == 0)
          __HAL_TIM_SET_COMPARE(htim[joint / 4], channel[joint % 4], 0);
      }

      joints_finished = 0;
      return -1;
      break;
	}
	return 0;
}

/* USER CODE END 4 */

void Error_Handler(void)
{
  __disable_irq();
  while (1)
  {
  }
}
